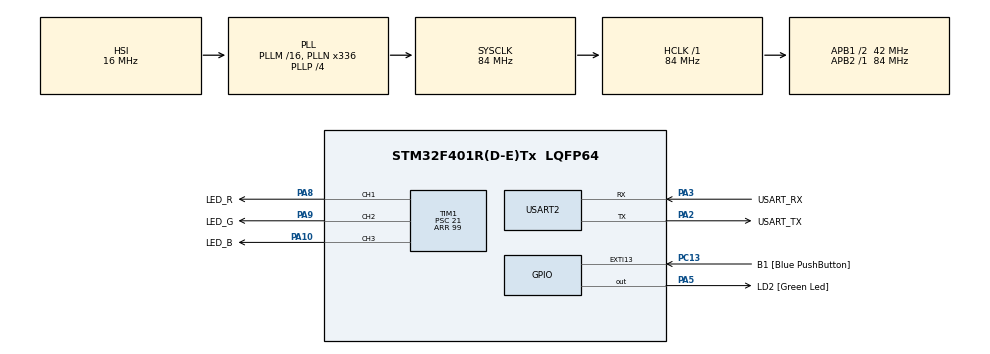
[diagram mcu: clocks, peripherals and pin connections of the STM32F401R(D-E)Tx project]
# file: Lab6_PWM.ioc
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Mcu.Family=STM32F4
Mcu.Name=STM32F401R(D-E)Tx
Mcu.Package=LQFP64
NVIC.PriorityGroup=NVIC_PRIORITYGROUP_0
NVIC.TIM1_UP_TIM10_IRQn=true\:0\:0\:false\:false\:true\:true\:true\:true
PA10.GPIO_Label=LED_B
PA10.Signal=S_TIM1_CH3
PA13.GPIO_Label=TMS
PA13.Mode=Serial_Wire
PA13.Signal=SYS_JTMS-SWDIO
PA14.GPIO_Label=TCK
PA14.Mode=Serial_Wire
PA14.Signal=SYS_JTCK-SWCLK
PA2.GPIO_Label=USART_TX
PA2.GPIO_Mode=GPIO_MODE_AF_PP
PA2.GPIO_PuPd=GPIO_NOPULL
PA2.GPIO_Speed=GPIO_SPEED_FREQ_LOW
PA2.Mode=Asynchronous
PA2.Signal=USART2_TX
PA3.GPIO_Label=USART_RX
PA3.GPIO_Mode=GPIO_MODE_AF_PP
PA3.GPIO_PuPd=GPIO_NOPULL
PA3.GPIO_Speed=GPIO_SPEED_FREQ_LOW
PA3.Mode=Asynchronous
PA3.Signal=USART2_RX
PA5.GPIO_Label=LD2 [Green Led]
PA5.GPIO_Mode=GPIO_MODE_OUTPUT_PP
PA5.GPIO_PuPd=GPIO_NOPULL
PA5.GPIO_Speed=GPIO_SPEED_FREQ_LOW
PA5.Signal=GPIO_Output
PA8.GPIO_Label=LED_R
PA8.Signal=S_TIM1_CH1
PA9.GPIO_Label=LED_G
PA9.Signal=S_TIM1_CH2
PB3.GPIO_Label=SWO
PB3.Signal=SYS_JTDO-SWO
PC13-ANTI_TAMP.GPIO_Label=B1 [Blue PushButton]
PC13-ANTI_TAMP.GPIO_ModeDefaultEXTI=GPIO_MODE_IT_FALLING
PC13-ANTI_TAMP.GPIO_PuPd=GPIO_NOPULL
PC13-ANTI_TAMP.Signal=GPXTI13
PC14-OSC32_IN.Mode=LSE-External-Oscillator
PC14-OSC32_IN.Signal=RCC_OSC32_IN
PC15-OSC32_OUT.Mode=LSE-External-Oscillator
PC15-OSC32_OUT.Signal=RCC_OSC32_OUT
PH0\ -\ OSC_IN.Mode=HSE-External-Clock-Source
PH0\ -\ OSC_IN.Signal=RCC_OSC_IN
PH1\ -\ OSC_OUT.Mode=HSE-External-Clock-Source
PH1\ -\ OSC_OUT.Signal=RCC_OSC_OUT
ProjectManager.HeapSize=0x200
ProjectManager.StackSize=0x400
ProjectManager.TargetToolchain=STM32CubeIDE
RCC.48MHZClocksFreq_Value=48000000
RCC.AHBFreq_Value=84000000
RCC.APB1CLKDivider=RCC_HCLK_DIV2
RCC.APB1Freq_Value=42000000
RCC.APB1TimFreq_Value=84000000
RCC.APB2Freq_Value=84000000
RCC.APB2TimFreq_Value=84000000
RCC.CortexFreq_Value=84000000
RCC.HCLKFreq_Value=84000000
RCC.HSE_VALUE=8000000
RCC.HSI_VALUE=16000000
RCC.PLLN=336
RCC.PLLP=RCC_PLLP_DIV4
RCC.PLLQ=7
RCC.SYSCLKFreq_VALUE=84000000
RCC.SYSCLKSource=RCC_SYSCLKSOURCE_PLLCLK
RCC.VCOOutputFreq_Value=336000000
SH.S_TIM1_CH1.0=TIM1_CH1,PWM Generation1 CH1
SH.S_TIM1_CH2.0=TIM1_CH2,PWM Generation2 CH2
SH.S_TIM1_CH3.0=TIM1_CH3,PWM Generation3 CH3
TIM1.Channel-PWM\ Generation1\ CH1=TIM_CHANNEL_1
TIM1.Channel-PWM\ Generation2\ CH2=TIM_CHANNEL_2
TIM1.Channel-PWM\ Generation3\ CH3=TIM_CHANNEL_3
TIM1.Period=99
TIM1.Prescaler=21
USART2.VirtualMode=VM_ASYNC
VP_TIM1_VS_ClockSourceINT.Mode=Internal
board=NUCLEO-F401RE

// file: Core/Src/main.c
/* USER CODE BEGIN Header */
/**
  ******************************************************************************
  * @file           : main.c
  * @brief          : Main program body
  ******************************************************************************
  * @attention
  *
  * Copyright (c) 2024 STMicroelectronics.
  * All rights reserved.
  *
  * This software is licensed under terms that can be found in the LICENSE file
  * in the root directory of this software component.
  * If no LICENSE file comes with this software, it is provided AS-IS.
  *
  ******************************************************************************
  */
/* USER CODE END Header */
#include "main.h"

/* USER CODE BEGIN Includes */
#include <math.h>

/* USER CODE END Includes */

TIM_HandleTypeDef htim1;
UART_HandleTypeDef huart2;

/* USER CODE BEGIN PV */
volatile uint32_t isr_count = 0;
float freq = 0.1f;  // Frekvensen för färgändringen, exempelvis 0.2 Hz för långsam övergång

// Justerade intensiteter baserat på tidigare observationer
const float red_intensity_adjust = 0.50f;  // Röda LEDs behöver högre duty cycle
const float green_intensity_adjust = 0.30f;  // Gröna LEDs kräver lägre duty cycle
const float blue_intensity_adjust = 0.40f;  // Blå LEDs behöver mellanhöga duty cycle

void HAL_TIM_PeriodElapsedCallback(TIM_HandleTypeDef *htim)
{
    if (htim->Instance == TIM1)
    {
        isr_count++;  // Öka räknaren varje gång timern slår runt
    }
}
/* USER CODE END PV */

void SystemClock_Config(void);
static void MX_GPIO_Init(void);
static void MX_USART2_UART_Init(void);
static void MX_TIM1_Init(void);

/* USER CODE BEGIN 0 */
static float t = 0.0f;
const float offset = M_TWOPI / 2.5f;
const float half_arr = 300.0f;  // (ARR + 1) / 2, ARR = 999 för att få PWM från 0 till 999

void update_color_duty_cycles()
{
    // Beräkna sinusvågorna för RGB, justerat med frekvensen
    float rf = sinf((M_TWOPI * t * freq) + (0 * offset));
    float gf = sinf((M_TWOPI * t * freq) + (1 * offset));
    float bf = sinf((M_TWOPI * t * freq) + (2 * offset));

    // Justera varje färg med sina specifika intensitetsbehov
    rf = (rf + 1.0f) * half_arr * red_intensity_adjust;   //  röd intensitet
    gf = (gf + 1.0f) * half_arr * green_intensity_adjust; // grön intensitet
    bf = (bf + 1.0f) * half_arr * blue_intensity_adjust;  //  blå intensitet

    // Sätt PWM duty cycles för RGB-kanalerna
    __HAL_TIM_SET_COMPARE(&htim1, TIM_CHANNEL_1, (uint32_t)rf);  // Röd kanal
    __HAL_TIM_SET_COMPARE(&htim1, TIM_CHANNEL_2, (uint32_t)gf);  // Grön kanal
    __HAL_TIM_SET_COMPARE(&htim1, TIM_CHANNEL_3, (uint32_t)bf);  // Blå kanal

    t += 0.001f;  // Justera beroende på önskad tidbas
}
/* USER CODE END 0 */

int main(void)
{

  /* MCU Configuration--------------------------------------------------------*/

  /* Reset of all peripherals, Initializes the Flash interface and the Systick. */
  HAL_Init();

  /* Configure the system clock */
  SystemClock_Config();

  /* Initialize all configured peripherals */
  MX_GPIO_Init();
  MX_USART2_UART_Init();
  MX_TIM1_Init();

  /* USER CODE BEGIN 2 */
  HAL_TIM_Base_Start_IT(&htim1);
  HAL_TIM_PWM_Start(&htim1, TIM_CHANNEL_1);
  HAL_TIM_PWM_Start(&htim1, TIM_CHANNEL_2);
  HAL_TIM_PWM_Start(&htim1, TIM_CHANNEL_3);
  /* USER CODE END 2 */

  /* Infinite loop */
  /* USER CODE BEGIN WHILE */
  while (1)
  {
    // Anropa funktionen som uppdaterar färgernas duty cycle
    update_color_duty_cycles();

    /* USER CODE END WHILE */

  }
}
void SystemClock_Config(void)
{
  RCC_OscInitTypeDef RCC_OscInitStruct = {0};
  RCC_ClkInitTypeDef RCC_ClkInitStruct = {0};

  /** Configure the main internal regulator output voltage
  */
  __HAL_RCC_PWR_CLK_ENABLE();
  __HAL_PWR_VOLTAGESCALING_CONFIG(PWR_REGULATOR_VOLTAGE_SCALE2);

  /** Initializes the RCC Oscillators according to the specified parameters
  * in the RCC_OscInitTypeDef structure.
  */
  RCC_OscInitStruct.OscillatorType = RCC_OSCILLATORTYPE_HSI;
  RCC_OscInitStruct.HSIState = RCC_HSI_ON;
  RCC_OscInitStruct.HSICalibrationValue = RCC_HSICALIBRATION_DEFAULT;
  RCC_OscInitStruct.PLL.PLLState = RCC_PLL_ON;
  RCC_OscInitStruct.PLL.PLLSource = RCC_PLLSOURCE_HSI;
  RCC_OscInitStruct.PLL.PLLM = 16;
  RCC_OscInitStruct.PLL.PLLN = 336;
  RCC_OscInitStruct.PLL.PLLP = RCC_PLLP_DIV4;
  RCC_OscInitStruct.PLL.PLLQ = 7;
  if (HAL_RCC_OscConfig(&RCC_OscInitStruct) != HAL_OK)
  {
    Error_Handler();
  }

  /** Initializes the CPU, AHB and APB buses clocks
  */
  RCC_ClkInitStruct.ClockType = RCC_CLOCKTYPE_HCLK|RCC_CLOCKTYPE_SYSCLK
                              |RCC_CLOCKTYPE_PCLK1|RCC_CLOCKTYPE_PCLK2;
  RCC_ClkInitStruct.SYSCLKSource = RCC_SYSCLKSOURCE_PLLCLK;
  RCC_ClkInitStruct.AHBCLKDivider = RCC_SYSCLK_DIV1;
  RCC_ClkInitStruct.APB1CLKDivider = RCC_HCLK_DIV2;
  RCC_ClkInitStruct.APB2CLKDivider = RCC_HCLK_DIV1;

  if (HAL_RCC_ClockConfig(&RCC_ClkInitStruct, FLASH_LATENCY_2) != HAL_OK)
  {
    Error_Handler();
  }
}

static void MX_TIM1_Init(void)
{

  TIM_ClockConfigTypeDef sClockSourceConfig = {0};
  TIM_MasterConfigTypeDef sMasterConfig = {0};
  TIM_OC_InitTypeDef sConfigOC = {0};
  TIM_BreakDeadTimeConfigTypeDef sBreakDeadTimeConfig = {0};

  htim1.Instance = TIM1;
  htim1.Init.Prescaler = 21;
  htim1.Init.CounterMode = TIM_COUNTERMODE_UP;
  htim1.Init.Period = 99;
  htim1.Init.ClockDivision = TIM_CLOCKDIVISION_DIV1;
  htim1.Init.RepetitionCounter = 0;
  htim1.Init.AutoReloadPreload = TIM_AUTORELOAD_PRELOAD_DISABLE;
  if (HAL_TIM_Base_Init(&htim1) != HAL_OK)
  {
    Error_Handler();
  }
  sClockSourceConfig.ClockSource = TIM_CLOCKSOURCE_INTERNAL;
  if (HAL_TIM_ConfigClockSource(&htim1, &sClockSourceConfig) != HAL_OK)
  {
    Error_Handler();
  }
  if (HAL_TIM_PWM_Init(&htim1) != HAL_OK)
  {
    Error_Handler();
  }
  sMasterConfig.MasterOutputTrigger = TIM_TRGO_RESET;
  sMasterConfig.MasterSlaveMode = TIM_MASTERSLAVEMODE_DISABLE;
  if (HAL_TIMEx_MasterConfigSynchronization(&htim1, &sMasterConfig) != HAL_OK)
  {
    Error_Handler();
  }
  sConfigOC.OCMode = TIM_OCMODE_PWM1;
  sConfigOC.Pulse = 0;
  sConfigOC.OCPolarity = TIM_OCPOLARITY_HIGH;
  sConfigOC.OCNPolarity = TIM_OCNPOLARITY_HIGH;
  sConfigOC.OCFastMode = TIM_OCFAST_DISABLE;
  sConfigOC.OCIdleState = TIM_OCIDLESTATE_RESET;
  sConfigOC.OCNIdleState = TIM_OCNIDLESTATE_RESET;
  if (HAL_TIM_PWM_ConfigChannel(&htim1, &sConfigOC, TIM_CHANNEL_1) != HAL_OK)
  {
    Error_Handler();
  }
  if (HAL_TIM_PWM_ConfigChannel(&htim1, &sConfigOC, TIM_CHANNEL_2) != HAL_OK)
  {
    Error_Handler();
  }
  if (HAL_TIM_PWM_ConfigChannel(&htim1, &sConfigOC, TIM_CHANNEL_3) != HAL_OK)
  {
    Error_Handler();
  }
  sBreakDeadTimeConfig.OffStateRunMode = TIM_OSSR_DISABLE;
  sBreakDeadTimeConfig.OffStateIDLEMode = TIM_OSSI_DISABLE;
  sBreakDeadTimeConfig.LockLevel = TIM_LOCKLEVEL_OFF;
  sBreakDeadTimeConfig.DeadTime = 0;
  sBreakDeadTimeConfig.BreakState = TIM_BREAK_DISABLE;
  sBreakDeadTimeConfig.BreakPolarity = TIM_BREAKPOLARITY_HIGH;
  sBreakDeadTimeConfig.AutomaticOutput = TIM_AUTOMATICOUTPUT_DISABLE;
  if (HAL_TIMEx_ConfigBreakDeadTime(&htim1, &sBreakDeadTimeConfig) != HAL_OK)
  {
    Error_Handler();
  }
  HAL_TIM_MspPostInit(&htim1);

}

static void MX_USART2_UART_Init(void)
{

  huart2.Instance = USART2;
  huart2.Init.BaudRate = 115200;
  huart2.Init.WordLength = UART_WORDLENGTH_8B;
  huart2.Init.StopBits = UART_STOPBITS_1;
  huart2.Init.Parity = UART_PARITY_NONE;
  huart2.Init.Mode = UART_MODE_TX_RX;
  huart2.Init.HwFlowCtl = UART_HWCONTROL_NONE;
  huart2.Init.OverSampling = UART_OVERSAMPLING_16;
  if (HAL_UART_Init(&huart2) != HAL_OK)
  {
    Error_Handler();
  }

}

static void MX_GPIO_Init(void)
{
  GPIO_InitTypeDef GPIO_InitStruct = {0};

  /* GPIO Ports Clock Enable */
  __HAL_RCC_GPIOC_CLK_ENABLE();
  __HAL_RCC_GPIOH_CLK_ENABLE();
  __HAL_RCC_GPIOA_CLK_ENABLE();
  __HAL_RCC_GPIOB_CLK_ENABLE();

  /*Configure GPIO pin Output Level */
  HAL_GPIO_WritePin(LD2_GPIO_Port, LD2_Pin, GPIO_PIN_RESET);

  /*Configure GPIO pin : B1_Pin */
  GPIO_InitStruct.Pin = B1_Pin;
  GPIO_InitStruct.Mode = GPIO_MODE_IT_FALLING;
  GPIO_InitStruct.Pull = GPIO_NOPULL;
  HAL_GPIO_Init(B1_GPIO_Port, &GPIO_InitStruct);

  /*Configure GPIO pin : LD2_Pin */
  GPIO_InitStruct.Pin = LD2_Pin;
  GPIO_InitStruct.Mode = GPIO_MODE_OUTPUT_PP;
  GPIO_InitStruct.Pull = GPIO_NOPULL;
  GPIO_InitStruct.Speed = GPIO_SPEED_FREQ_LOW;
  HAL_GPIO_Init(LD2_GPIO_Port, &GPIO_InitStruct);

}

void Error_Handler(void)
{
  __disable_irq();
  while (1)
  {
  }
}
